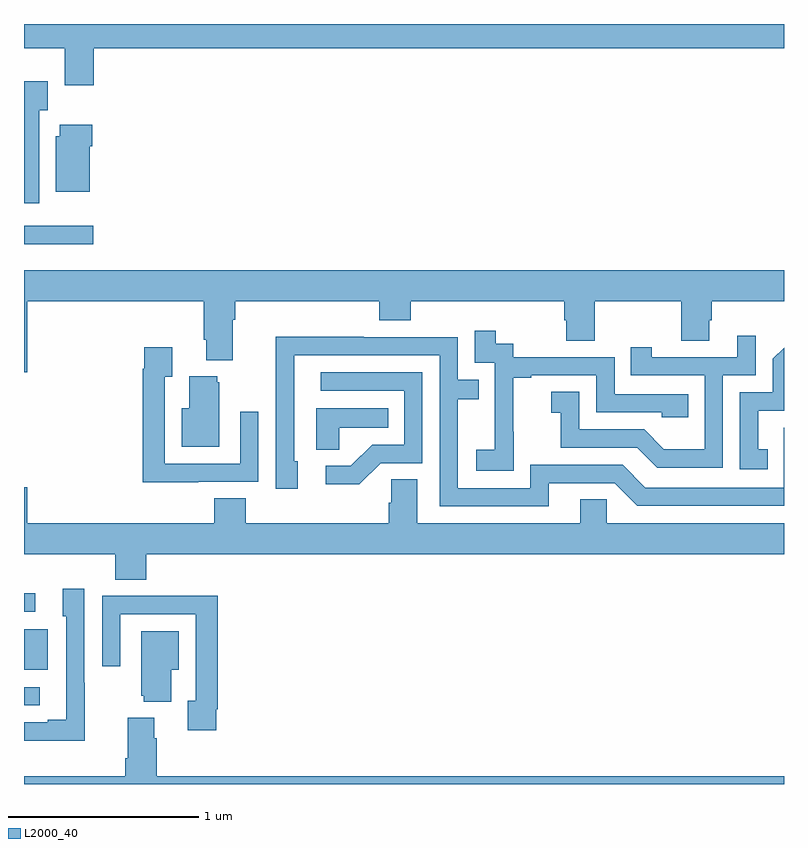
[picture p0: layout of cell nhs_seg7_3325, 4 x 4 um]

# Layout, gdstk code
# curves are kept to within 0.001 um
import gdstk
lib = gdstk.Library(unit=1e-6, precision=1e-09)
def R(c, l, rs):  # rectangles x0, y0, x1, y1
    for r in rs: c.add(gdstk.rectangle(r[:2], r[2:], *l))
def P(c, l, *ps):  # polygons
    for p in ps: c.add(gdstk.Polygon(p, *l))
L2000_40 = (2000, 40)

nhs_seg7_3325 = lib.new_cell('nhs_seg7_3325')
R(nhs_seg7_3325, L2000_40, [(321,1074.414,321.082,1074.51), (321,1074.602,321.124,1074.814), (321,1074.906,321.058,1075.004), (321,1076.84,321.364,1076.937)])
P(nhs_seg7_3325, L2000_40, [(321.368,1077.872),(325,1077.872),(325,1078),(321,1078),(321,1077.872),(321.215,1077.872),(321.215,1077.678),(321.368,1077.678)],
  [(321.079,1077.546),(321.124,1077.546),(321.124,1077.7),(321,1077.7),(321,1077.057),(321.079,1077.057)],
  [(321.346,1077.356),(321.359,1077.356),(321.359,1077.469),(321.188,1077.469),(321.188,1077.408),(321.167,1077.408),(321.167,1077.116),(321.346,1077.116)],
  [(321.016,1076.54),(321.947,1076.54),(321.947,1076.338),(321.959,1076.338),(321.959,1076.231),(322.099,1076.231),(322.099,1076.444),(322.112,1076.444),(322.112,1076.54),(322.871,1076.54),(322.871,1076.441),(323.036,1076.441),(323.036,1076.54),(323.843,1076.54),(323.843,1076.442),(323.855,1076.442),(323.855,1076.332),(324.003,1076.332),(324.003,1076.54),(324.46,1076.54),(324.46,1076.332),(324.607,1076.332),(324.607,1076.442),(324.62,1076.442),(324.62,1076.54),(325,1076.54),(325,1076.704),(321,1076.704),(321,1076.166),(321.016,1076.166)],
  [(323.577,1075.855),(323.576,1075.855),(323.576,1076.139),(323.671,1076.139),(323.671,1076.151),(324.012,1076.151),(324.012,1075.956),(324.357,1075.956),(324.357,1075.929),(324.497,1075.929),(324.497,1076.052),(324.108,1076.052),(324.108,1076.247),(323.574,1076.247),(323.574,1076.316),(323.482,1076.316),(323.482,1076.386),(323.373,1076.386),(323.373,1076.217),(323.478,1076.217),(323.478,1075.988),(323.477,1075.988),(323.477,1075.759),(323.379,1075.759),(323.379,1075.649),(323.577,1075.649)],
  [(324.678,1076.151),(324.852,1076.151),(324.852,1076.359),(324.755,1076.359),(324.755,1076.247),(324.304,1076.247),(324.304,1076.299),(324.193,1076.299),(324.193,1076.151),(324.582,1076.151),(324.582,1075.762),(324.368,1075.762),(324.264,1075.866),(323.922,1075.866),(323.922,1076.065),(323.775,1076.065),(323.775,1075.955),(323.824,1075.955),(323.824,1075.77),(324.227,1075.77),(324.332,1075.665),(324.678,1075.665)],
  [(323.761,1075.584),(324.108,1075.584),(324.228,1075.464),(325,1075.464),(325,1075.875),(324.999,1075.56),(324.27,1075.56),(324.15,1075.68),(323.664,1075.68),(323.664,1075.557),(323.283,1075.557),(323.283,1076.026),(323.393,1076.026),(323.393,1076.127),(323.283,1076.127),(323.283,1076.352),(322.787,1076.352),(322.787,1076.354),(322.324,1076.354),(322.324,1076.047),(322.326,1076.047),(322.326,1075.554),(322.441,1075.554),(322.441,1075.698),(322.422,1075.698),(322.422,1076.256),(323.187,1076.256),(323.187,1075.461),(323.761,1075.461)],
  [(321.917,1075.59),(322.233,1075.59),(322.233,1075.96),(322.137,1075.96),(322.137,1075.686),(321.741,1075.686),(321.741,1076.143),(321.781,1076.143),(321.781,1076.299),(321.633,1076.299),(321.633,1076.186),(321.625,1076.186),(321.625,1075.589),(321.917,1075.589)],
  [(324.914,1075.761),(324.865,1075.761),(324.865,1075.965),(325,1075.965),(325,1076.296),(324.942,1076.238),(324.942,1076.061),(324.768,1076.061),(324.768,1075.656),(324.914,1075.656)],
  [(322.878,1075.689),(323.097,1075.689),(323.097,1076.166),(322.563,1076.166),(322.563,1076.07),(323.001,1076.07),(323.001,1075.785),(322.832,1075.785),(322.721,1075.674),(322.587,1075.674),(322.587,1075.577),(322.765,1075.577)],
  [(322.027,1076.115),(322.016,1076.115),(322.016,1076.146),(321.869,1076.146),(321.869,1075.978),(321.83,1075.978),(321.83,1075.775),(322.027,1075.775)],
  [(322.659,1075.874),(322.916,1075.874),(322.916,1075.978),(322.538,1075.978),(322.538,1075.759),(322.659,1075.759)],
  [(321.644,1075.208),(325,1075.208),(325,1075.372),(324.066,1075.372),(324.066,1075.499),(323.927,1075.499),(323.927,1075.372),(323.071,1075.372),(323.071,1075.604),(322.932,1075.604),(322.932,1075.481),(322.919,1075.481),(322.919,1075.372),(322.166,1075.372),(322.166,1075.505),(322.001,1075.505),(322.001,1075.372),(321.016,1075.372),(321.016,1075.561),(321,1075.561),(321,1075.208),(321.479,1075.208),(321.479,1075.075),(321.644,1075.075)],
  [(321.321,1074.533),(321.318,1074.533),(321.318,1075.027),(321.203,1075.027),(321.203,1074.882),(321.222,1074.882),(321.222,1074.337),(321.125,1074.337),(321.125,1074.324),(321,1074.324),(321,1074.227),(321.321,1074.227)],
  [(322.012,1074.394),(322.019,1074.394),(322.019,1074.992),(321.727,1074.992),(321.727,1074.99),(321.411,1074.99),(321.411,1074.621),(321.507,1074.621),(321.507,1074.894),(321.903,1074.894),(321.903,1074.438),(321.863,1074.438),(321.863,1074.282),(322.012,1074.282)],
  [(321.775,1074.602),(321.814,1074.602),(321.814,1074.805),(321.617,1074.805),(321.617,1074.465),(321.629,1074.465),(321.629,1074.434),(321.775,1074.434)],
  [(325,1074.04),(321.698,1074.04),(321.698,1074.242),(321.685,1074.242),(321.685,1074.349),(321.545,1074.349),(321.545,1074.136),(321.533,1074.136),(321.533,1074.04),(321,1074.04),(321,1074),(325,1074)])

lib.write_gds('nhs_seg7_3325.gds')
